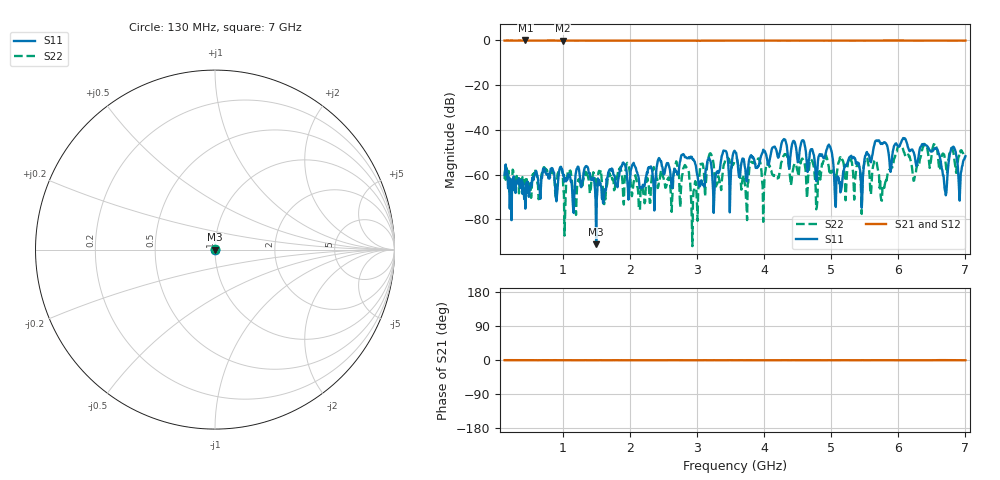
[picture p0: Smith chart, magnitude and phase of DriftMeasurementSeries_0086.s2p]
# Hz S RI R 50.000000
! Metas.Vna.Tools, 2.8.8664.20301
! Metas.Vna.Data, 2.8.8664.20285
! Created: UTC 2024.02.11 10:08:47
! FREQ  re:S1,1  im:S1,1  re:S2,1  im:S2,1  re:S1,2  im:S1,2  re:S2,2  im:S2,2
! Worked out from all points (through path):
!   801 points, 130 MHz to 7 GHz, reference 50 ohm
!   highest |S21| = -0.05 dB at 439.1 MHz (marker M1); lowest = -0.2 dB at 997.3 MHz (marker M2)
!   lowest |S11| = -91.2 dB at 1.495 GHz (marker M3), VSWR 1.00, Z = 50 - j0.00275 ohm
!   |S11| at or under -10 dB: start of sweep to end of sweep
!   |S22| runs from -92.0 to -46.0 dB; largest |S21 - S12| = 0.023
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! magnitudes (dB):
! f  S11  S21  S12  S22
! 130 MHz  -60.1  -0.1  0.0  -62.0
! 439.1 MHz  -75.2  -0.1  0.0  -65.1
! 997.3 MHz  -59.1  -0.2  0.0  -60.3
! 1.281 GHz  -65.1  -0.1  0.0  -64.2
! 1.495 GHz  -91.2  -0.1  0.0  -74.5
! 2.423 GHz  -53.1  -0.2  0.0  -65.2
! 3.264 GHz  -63.7  -0.1  0.0  -62.5
! 3.565 GHz  -49.6  -0.1  0.0  -53.4
! 3.737 GHz  -63.0  -0.1  0.0  -74.0
! 3.831 GHz  -52.7  -0.1  0.0  -54.8
! 4.716 GHz  -48.6  -0.1  0.0  -54.0
! 4.784 GHz  -62.5  -0.1  0.0  -74.6
! 4.973 GHz  -47.2  -0.1  0.0  -59.7
! 5.085 GHz  -61.0  -0.1  0.0  -58.9
! 5.678 GHz  -44.8  -0.1  0.0  -54.7
! 5.755 GHz  -46.2  -0.1  0.0  -71.7
! 5.858 GHz  -51.0  -0.1  0.0  -58.2
! 6.562 GHz  -48.5  -0.1  0.0  -47.4
! 6.699 GHz  -67.5  -0.1  0.0  -53.5
! 6.802 GHz  -48.1  -0.1  0.0  -48.1
! 6.914 GHz  -71.6  -0.1  0.0  -50.4
! 7 GHz  -51.7  -0.1  0.0  -52.8
